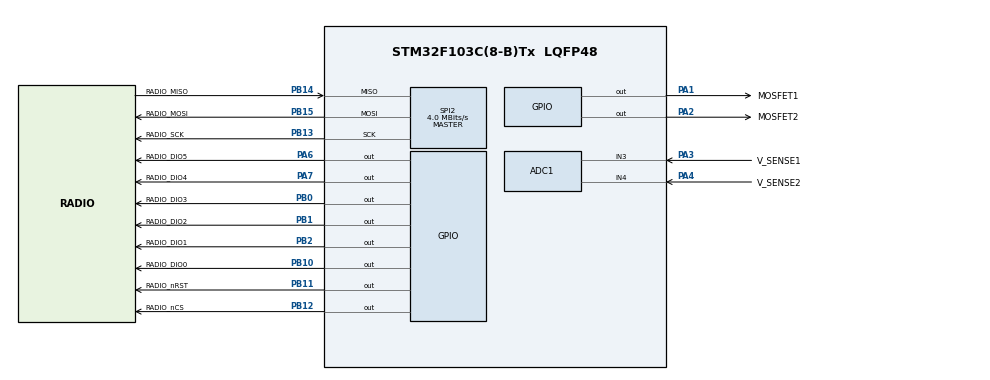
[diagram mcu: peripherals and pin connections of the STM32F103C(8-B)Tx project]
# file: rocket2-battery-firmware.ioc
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ADC1.Channel-1\#ChannelRegularConversion=ADC_CHANNEL_3
ADC1.NbrOfConversionFlag=1
ADC1.Rank-1\#ChannelRegularConversion=1
ADC1.SamplingTime-1\#ChannelRegularConversion=ADC_SAMPLETIME_1CYCLE_5
ADC1.master=1
Mcu.Family=STM32F1
Mcu.Name=STM32F103C(8-B)Tx
Mcu.Package=LQFP48
NVIC.PriorityGroup=NVIC_PRIORITYGROUP_4
PA1.GPIO_Label=MOSFET1
PA1.Signal=GPIO_Output
PA13.GPIO_Label=MCU_TMS
PA13.Mode=JTAG_4_pins
PA13.Signal=SYS_JTMS-SWDIO
PA14.GPIO_Label=MCU_TCK
PA14.Mode=JTAG_4_pins
PA14.Signal=SYS_JTCK-SWCLK
PA15.GPIO_Label=MCU_TDI
PA15.Mode=JTAG_4_pins
PA15.Signal=SYS_JTDI
PA2.GPIO_Label=MOSFET2
PA2.Signal=GPIO_Output
PA3.GPIO_Label=V_SENSE1
PA3.Signal=ADCx_IN3
PA4.GPIO_Label=V_SENSE2
PA4.Signal=ADCx_IN4
PA6.GPIO_Label=RADIO_DIO5
PA6.Signal=GPIO_Output
PA7.GPIO_Label=RADIO_DIO4
PA7.Signal=GPIO_Output
PB0.GPIO_Label=RADIO_DIO3
PB0.Signal=GPIO_Output
PB1.GPIO_Label=RADIO_DIO2
PB1.Signal=GPIO_Output
PB10.GPIO_Label=RADIO_DIO0
PB10.Signal=GPIO_Output
PB11.GPIO_Label=RADIO_nRST
PB11.Signal=GPIO_Output
PB12.GPIO_Label=RADIO_nCS
PB12.Signal=GPIO_Output
PB13.GPIO_Label=RADIO_SCK
PB13.Mode=Full_Duplex_Master
PB13.Signal=SPI2_SCK
PB14.GPIO_Label=RADIO_MISO
PB14.Mode=Full_Duplex_Master
PB14.Signal=SPI2_MISO
PB15.GPIO_Label=RADIO_MOSI
PB15.Mode=Full_Duplex_Master
PB15.Signal=SPI2_MOSI
PB2.GPIO_Label=RADIO_DIO1
PB2.Signal=GPIO_Output
PB3.GPIO_Label=MCU_TDO
PB3.Mode=JTAG_4_pins
PB3.Signal=SYS_JTDO-TRACESWO
ProjectManager.HeapSize=0x200
ProjectManager.StackSize=0x400
ProjectManager.TargetToolchain=STM32CubeIDE
RCC.APB1Freq_Value=8000000
RCC.APB2Freq_Value=8000000
SH.ADCx_IN3.0=ADC1_IN3,IN3
SH.ADCx_IN4.0=ADC1_IN4,IN4
SPI2.CalculateBaudRate=4.0 MBits/s
SPI2.Direction=SPI_DIRECTION_2LINES
SPI2.Mode=SPI_MODE_MASTER
SPI2.VirtualType=VM_MASTER
board=custom

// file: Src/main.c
/* USER CODE BEGIN Header */
/**
  ******************************************************************************
  * @file           : main.c
  * @brief          : Main program body
  ******************************************************************************
  * @attention
  *
  * Copyright (c) 2024 STMicroelectronics.
  * All rights reserved.
  *
  * This software is licensed under terms that can be found in the LICENSE file
  * in the root directory of this software component.
  * If no LICENSE file comes with this software, it is provided AS-IS.
  *
  ******************************************************************************
  */
/* USER CODE END Header */
#include "main.h"

typedef enum {
	VSENSE1,
	VSENSE2
} voltagePin;

typedef enum {
	MOSFET1,
	MOSFET2
} mosfetPin;

ADC_HandleTypeDef hadc1;
SPI_HandleTypeDef hspi2;

/* USER CODE BEGIN PV */
unit16_t vsense1;
unit16_t vsense2;
/* USER CODE END PV */

void SystemClock_Config(void);
static void MX_GPIO_Init(void);
static void MX_ADC1_Init(void);
static void MX_SPI2_Init(void);
/* USER CODE BEGIN PFP */
unit16_t read_vsense(voltagePin selectV);
static void open_mosfet(mosfetPin selectM);
static void close_mosfet(mosfetPin selectM);
/* USER CODE END PFP */

/* USER CODE BEGIN 0 */
unit16_t read_vsense(voltagePin selectV) {
	unit16_t adc_val;

	switch(selectV) {
		case VSENSE1:
			ADC1_select_CH3();
			break;
		case VSENSE2:
			ADC1_select_CH4();
			break;
		default:
			break;
	}

	HAL_ADC_Start(&hadc1);
	HAL_ADC_PollForConversion(&hadc1, HAL_MAX_DELAY);
	adc_val = HAL_ADC_GetValue(&hadc1);
	HAL_ADC_Stop(&hadc1);

	return adc_val;

}

static void open_mosfet(mosfetPin selectM) {
	GPIO_TypeDef* mosfet_port;
	unit16_t mosfet_pin;

	switch(selectM) {
		case MOSFET1:
			mosfet_port = MOSFET1_GPIO_Port;
			mosfet_pin = MOSFET1_GPIO_Pin;
			HAL_GPIO_WritePin(mosfet_port, mosfet_pin, GPIO_PIN_SET);
			break;
		case MOSFET2:
			mosfet_port = MOSFET2_GPIO_Port;
			mosfet_pin = MOSFET2_GPIO_Pin;
			HAL_GPIO_WritePin(mosfet_port, mosfet_pin, GPIO_PIN_SET);
			break;
		default:
			break;
	}
}

static void close_mosfet(mosfetPin selectM) {
	GPIO_TypeDef* mosfet_port;
	unit16_t mosfet_pin;

	switch(selectM) {
		case MOSFET1:
			mosfet_port = MOSFET1_GPIO_Port;
			mosfet_pin = MOSFET1_GPIO_Pin;
			HAL_GPIO_WritePin(mosfet_port, mosfet_pin, GPIO_PIN_RESET);
			break;
		case MOSFET2:
			mosfet_port = MOSFET2_GPIO_Port;
			mosfet_pin = MOSFET2_GPIO_Pin;
			HAL_GPIO_WritePin(mosfet_port, mosfet_pin, GPIO_PIN_RESET);
			break;
		default:
			break;
	}
}

/* USER CODE END 0 */

int main(void)
{

  /* MCU Configuration--------------------------------------------------------*/

  /* Reset of all peripherals, Initializes the Flash interface and the Systick. */
  HAL_Init();

  /* Configure the system clock */
  SystemClock_Config();

  /* Initialize all configured peripherals */
  MX_GPIO_Init();
  MX_ADC1_Init();
  MX_SPI2_Init();

  /* Infinite loop */
  while (1)
  {
	  vsense1 = read_vsense(VSENSE1);
	  vsense2 = read_vsense(VSENSE2);

	  if(vsense1 > 2000) {
		  open_mosfet(MOSFET1);
		  Hal_Delay(500);
		  close_mosfet(MOSFET2);
	  }
	  else if(vsense1 < 2000) {
		  if(vsense2 > 2000) {
			  open_mosfet(MOSFET2);
			  close_mosfet(MOSFET1);
		  }
	  }
	  Hal_Delay(500);
  }
}

void SystemClock_Config(void)
{
  RCC_OscInitTypeDef RCC_OscInitStruct = {0};
  RCC_ClkInitTypeDef RCC_ClkInitStruct = {0};
  RCC_PeriphCLKInitTypeDef PeriphClkInit = {0};

  /** Initializes the RCC Oscillators according to the specified parameters
  * in the RCC_OscInitTypeDef structure.
  */
  RCC_OscInitStruct.OscillatorType = RCC_OSCILLATORTYPE_HSI;
  RCC_OscInitStruct.HSIState = RCC_HSI_ON;
  RCC_OscInitStruct.HSICalibrationValue = RCC_HSICALIBRATION_DEFAULT;
  RCC_OscInitStruct.PLL.PLLState = RCC_PLL_NONE;
  if (HAL_RCC_OscConfig(&RCC_OscInitStruct) != HAL_OK)
  {
    Error_Handler();
  }

  /** Initializes the CPU, AHB and APB buses clocks
  */
  RCC_ClkInitStruct.ClockType = RCC_CLOCKTYPE_HCLK|RCC_CLOCKTYPE_SYSCLK
                              |RCC_CLOCKTYPE_PCLK1|RCC_CLOCKTYPE_PCLK2;
  RCC_ClkInitStruct.SYSCLKSource = RCC_SYSCLKSOURCE_HSI;
  RCC_ClkInitStruct.AHBCLKDivider = RCC_SYSCLK_DIV1;
  RCC_ClkInitStruct.APB1CLKDivider = RCC_HCLK_DIV1;
  RCC_ClkInitStruct.APB2CLKDivider = RCC_HCLK_DIV1;

  if (HAL_RCC_ClockConfig(&RCC_ClkInitStruct, FLASH_LATENCY_0) != HAL_OK)
  {
    Error_Handler();
  }
  PeriphClkInit.PeriphClockSelection = RCC_PERIPHCLK_ADC;
  PeriphClkInit.AdcClockSelection = RCC_ADCPCLK2_DIV2;
  if (HAL_RCCEx_PeriphCLKConfig(&PeriphClkInit) != HAL_OK)
  {
    Error_Handler();
  }
}

static void MX_ADC1_Init(void)
{

  ADC_ChannelConfTypeDef sConfig = {0};

  /** Common config
  */
  hadc1.Instance = ADC1;
  hadc1.Init.ScanConvMode = ADC_SCAN_DISABLE;
  hadc1.Init.ContinuousConvMode = DISABLE;
  hadc1.Init.DiscontinuousConvMode = DISABLE;
  hadc1.Init.ExternalTrigConv = ADC_SOFTWARE_START;
  hadc1.Init.DataAlign = ADC_DATAALIGN_RIGHT;
  hadc1.Init.NbrOfConversion = 1;
  if (HAL_ADC_Init(&hadc1) != HAL_OK)
  {
    Error_Handler();
  }

  /** Configure Regular Channel
  */
  sConfig.Channel = ADC_CHANNEL_3;
  sConfig.Rank = ADC_REGULAR_RANK_1;
  sConfig.SamplingTime = ADC_SAMPLETIME_1CYCLE_5;
  if (HAL_ADC_ConfigChannel(&hadc1, &sConfig) != HAL_OK)
  {
    Error_Handler();
  }

}

static void MX_SPI2_Init(void)
{

  /* SPI2 parameter configuration*/
  hspi2.Instance = SPI2;
  hspi2.Init.Mode = SPI_MODE_MASTER;
  hspi2.Init.Direction = SPI_DIRECTION_2LINES;
  hspi2.Init.DataSize = SPI_DATASIZE_8BIT;
  hspi2.Init.CLKPolarity = SPI_POLARITY_LOW;
  hspi2.Init.CLKPhase = SPI_PHASE_1EDGE;
  hspi2.Init.NSS = SPI_NSS_SOFT;
  hspi2.Init.BaudRatePrescaler = SPI_BAUDRATEPRESCALER_2;
  hspi2.Init.FirstBit = SPI_FIRSTBIT_MSB;
  hspi2.Init.TIMode = SPI_TIMODE_DISABLE;
  hspi2.Init.CRCCalculation = SPI_CRCCALCULATION_DISABLE;
  hspi2.Init.CRCPolynomial = 10;
  if (HAL_SPI_Init(&hspi2) != HAL_OK)
  {
    Error_Handler();
  }

}

static void MX_GPIO_Init(void)
{
  GPIO_InitTypeDef GPIO_InitStruct = {0};

  /* GPIO Ports Clock Enable */
  __HAL_RCC_GPIOA_CLK_ENABLE();
  __HAL_RCC_GPIOB_CLK_ENABLE();

  /*Configure GPIO pin Output Level */
  HAL_GPIO_WritePin(GPIOA, MOSFET1_Pin|MOSFET2_Pin|RADIO_DIO5_Pin|RADIO_DIO4_Pin, GPIO_PIN_RESET);

  /*Configure GPIO pin Output Level */
  HAL_GPIO_WritePin(GPIOB, RADIO_DIO3_Pin|RADIO_DIO2_Pin|RADIO_DIO1_Pin|RADIO_DIO0_Pin
                          |RADIO_nRST_Pin|RADIO_nCS_Pin, GPIO_PIN_RESET);

  /*Configure GPIO pins : MOSFET1_Pin MOSFET2_Pin RADIO_DIO5_Pin RADIO_DIO4_Pin */
  GPIO_InitStruct.Pin = MOSFET1_Pin|MOSFET2_Pin|RADIO_DIO5_Pin|RADIO_DIO4_Pin;
  GPIO_InitStruct.Mode = GPIO_MODE_OUTPUT_PP;
  GPIO_InitStruct.Pull = GPIO_NOPULL;
  GPIO_InitStruct.Speed = GPIO_SPEED_FREQ_LOW;
  HAL_GPIO_Init(GPIOA, &GPIO_InitStruct);

  /*Configure GPIO pins : RADIO_DIO3_Pin RADIO_DIO2_Pin RADIO_DIO1_Pin RADIO_DIO0_Pin
                           RADIO_nRST_Pin RADIO_nCS_Pin */
  GPIO_InitStruct.Pin = RADIO_DIO3_Pin|RADIO_DIO2_Pin|RADIO_DIO1_Pin|RADIO_DIO0_Pin
                          |RADIO_nRST_Pin|RADIO_nCS_Pin;
  GPIO_InitStruct.Mode = GPIO_MODE_OUTPUT_PP;
  GPIO_InitStruct.Pull = GPIO_NOPULL;
  GPIO_InitStruct.Speed = GPIO_SPEED_FREQ_LOW;
  HAL_GPIO_Init(GPIOB, &GPIO_InitStruct);

}

/* USER CODE BEGIN 4 */
static void ADC1_Select_CH3(void) {
    ADC_ChannelConfTypeDef sConfig = {0};

    sConfig.Channel = ADC_CHANNEL_3;
    sConfig.Rank = ADC_REGULAR_RANK_1;
    sConfig.SamplingTime = ADC_SAMPLETIME_7CYCLES_5;
    if (HAL_ADC_ConfigChannel(&hadc1, &sConfig) != HAL_OK)
    {
        Error_Handler();
    }
}

static void ADC1_Select_CH4(void) {
    ADC_ChannelConfTypeDef sConfig = {0};

    sConfig.Channel = ADC_CHANNEL_4;
    sConfig.Rank = ADC_REGULAR_RANK_1;
    sConfig.SamplingTime = ADC_SAMPLETIME_7CYCLES_5;
    if (HAL_ADC_ConfigChannel(&hadc1, &sConfig) != HAL_OK)
    {
        Error_Handler();
    }
}

/* USER CODE END 4 */

void Error_Handler(void)
{
  __disable_irq();
  while (1)
  {
  }
}
